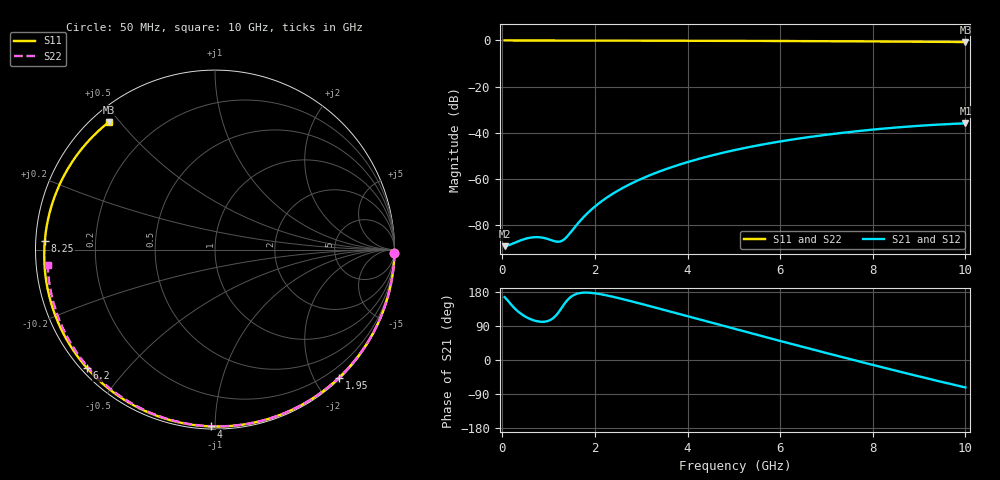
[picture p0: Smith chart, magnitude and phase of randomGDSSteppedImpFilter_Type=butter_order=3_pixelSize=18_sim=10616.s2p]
! freq	dB(S11)	phase(S11)	dB(S12)	phase(S12)
!  dB(S21)	phase(S21)	dB(S22)	phase(S22)
!S-par simulation data
#  GHz  S  DB  R 50
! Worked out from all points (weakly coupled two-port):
!   200 points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, 50 MHz to 10 GHz, reference 50 ohm
!   highest |S21| = -35.94 dB at 10 GHz (marker M1); lowest = -89.2 dB at 50 MHz (marker M2)
!   lowest |S11| = -0.7 dB at 10 GHz (marker M3), VSWR 25.40, Z = 2.4 + j23.5 ohm
!   |S11| at or under -10 dB: nowhere
!   |S22| runs from -0.6 to 0.0 dB; largest |S21 - S12| = 0
!   S11 on the Smith chart (normalised r, x): 50 MHz: 0, -95; 1.95 GHz: 0.02, -2.36; 4 GHz: 0.01, -0.98; 6.2 GHz: 0.02, -0.39; 8.25 GHz: 0.03, +0.03; 10 GHz: 0.05, +0.47
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0.05  -0.00 -1.2  -89.21 165.8  -89.21 165.8  -0.00 -1.0
0.8  -0.02 -19.2  -85.34 101.3  -85.34 101.3  -0.02 -16.1
1.6  -0.05 -37.9  -80.12 174.3  -80.12 174.3  -0.04 -31.9
1.75  -0.05 -41.4  -76.71 177.7  -76.71 177.7  -0.04 -34.8
1.95  -0.06 -46.0  -72.86 176.8  -72.86 176.8  -0.05 -38.6
2.25  -0.07 -52.8  -68.23 170.6  -68.23 170.6  -0.06 -44.4
2.55  -0.08 -59.6  -64.52 162.2  -64.52 162.2  -0.06 -50.1
2.95  -0.09 -68.5  -60.47 149.8  -60.47 149.8  -0.07 -57.5
3.4  -0.10 -78.3  -56.77 135.2  -56.77 135.2  -0.09 -65.8
4  -0.13 -91.2  -52.75 115.6  -52.75 115.6  -0.11 -76.5
4.5  -0.15 -101.8  -49.98 99.2  -49.98 99.2  -0.12 -85.2
5.05  -0.18 -113.3  -47.40 81.2  -47.40 81.2  -0.15 -94.5
5.6  -0.21 -124.7  -45.20 63.2  -45.20 63.2  -0.17 -103.7
6.2  -0.25 -137.3  -43.15 43.8  -43.15 43.8  -0.20 -113.4
6.7  -0.29 -147.9  -41.68 27.9  -41.68 27.9  -0.24 -121.5
7.5  -0.37 -165.5  -39.70 2.6  -39.70 2.6  -0.30 -134.2
8.25  -0.45 177.1  -38.19 -20.6  -38.19 -20.6  -0.36 -146.1
8.35  -0.46 174.6  -38.01 -23.7  -38.01 -23.7  -0.37 -147.7
8.8  -0.52 163.3  -37.29 -37.3  -37.29 -37.3  -0.42 -154.9
9.2  -0.57 152.7  -36.74 -49.3  -36.74 -49.3  -0.47 -161.4
9.6  -0.63 141.5  -36.29 -61.0  -36.29 -61.0  -0.52 -168.0
10  -0.68 129.7  -35.94 -72.4  -35.94 -72.4  -0.57 -174.8
